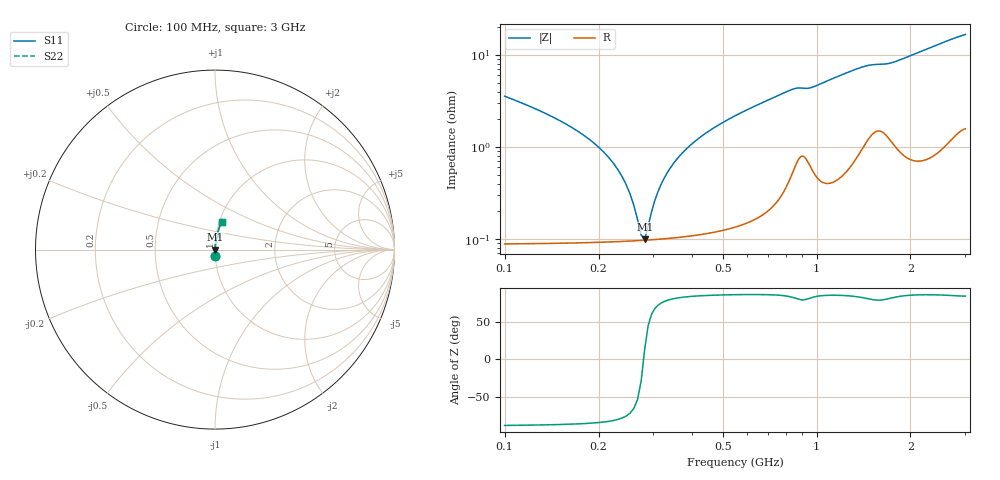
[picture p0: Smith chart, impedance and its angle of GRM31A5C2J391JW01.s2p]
!Murata Part Number: GRM31A5C2J391JW01
!These Parameters are Measured in Series Mode Connection
!Data Generated on Mar 30, 2021
!  o--ll--o
!Port1  Port2
!  o------o
!Operation Temp=25[degC], DC Bias Voltage=0[V]
!Freq. Start=100[MHz] Stop=3[GHz] 401[Steps]
# Hz S RI R 50
!Freq.(Hz) S11(Real) S11(Imag) S21(Real) S21(Imag) S12(Real) S12(Imag) S22(Real) S22(Imag)
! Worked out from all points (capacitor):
!   401 points, 100 MHz to 3 GHz, reference 50 ohm
!   read as one part in series: C = 390 pF near 114.5 MHz
!   lowest |Z| = 100 mohm at 281.2 MHz (marker M1)
!   series resonance near 279 MHz, so ESL is about 830 pH
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1e8  0.00215 -0.0355  0.9979 0.0355  0.9979 0.0355  0.00215 -0.0355
1.6525e8  0.00116 -0.016  0.9988 0.016  0.9988 0.016  0.00116 -0.016
2.0875e8  0.001 -0.00861  0.999 0.00861  0.999 0.00861  0.001 -0.00861
2.3775e8  0.000966 -0.00471  0.999 0.00471  0.999 0.00471  0.000966 -0.00471
2.6675e8  0.000964 -0.00132  0.999 0.00132  0.999 0.00132  0.000964 -0.00132
2.74e8  0.000968 -0.000533  0.999 0.000533  0.999 0.000533  0.000968 -0.000533
2.8125e8  0.000973 0.000233  0.999 -0.000233  0.999 -0.000233  0.000973 0.000233
2.885e8  0.000979 0.00098  0.999 -0.00098  0.999 -0.00098  0.000979 0.00098
3.1025e8  0.00101 0.00312  0.999 -0.00312  0.999 -0.00312  0.00101 0.00312
3.2475e8  0.00103 0.00448  0.999 -0.00448  0.999 -0.00448  0.00103 0.00448
3.465e8  0.00107 0.00642  0.9989 -0.00642  0.9989 -0.00642  0.00107 0.00642
3.755e8  0.00114 0.00888  0.9989 -0.00888  0.9989 -0.00888  0.00114 0.00888
4.625e8  0.00142 0.0156  0.9986 -0.0156  0.9986 -0.0156  0.00142 0.0156
5.8575e8  0.00205 0.0243  0.998 -0.0243  0.998 -0.0243  0.00205 0.0243
8.25e8  0.00629 0.0408  0.9937 -0.0408  0.9937 -0.0408  0.00629 0.0408
9.555e8  0.00793 0.0429  0.9921 -0.0429  0.9921 -0.0429  0.00793 0.0429
1.0715e9  0.0066 0.0507  0.9934 -0.0507  0.9934 -0.0507  0.0066 0.0507
1.35425e9  0.0127 0.0691  0.9873 -0.0691  0.9873 -0.0691  0.0127 0.0691
1.55e9  0.0202 0.0746  0.9798 -0.0746  0.9798 -0.0746  0.0202 0.0746
2.03575e9  0.0168 0.0978  0.9832 -0.0978  0.9832 -0.0978  0.0168 0.0978
2.5215e9  0.0266 0.1296  0.9734 -0.1296  0.9734 -0.1296  0.0266 0.1296
3e9  0.0411 0.1564  0.9589 -0.1564  0.9589 -0.1564  0.0411 0.1564
